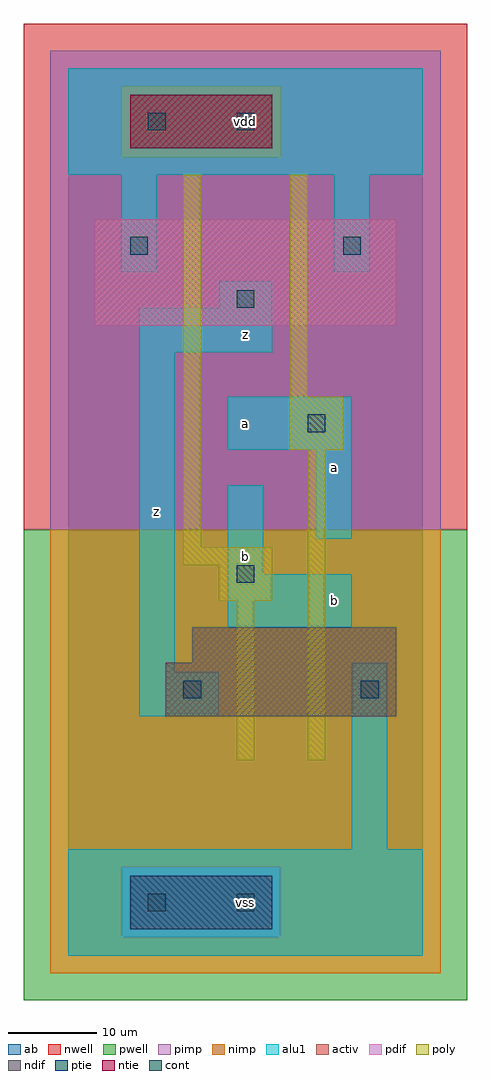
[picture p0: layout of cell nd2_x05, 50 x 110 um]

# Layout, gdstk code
import gdstk
lib = gdstk.Library(unit=1e-6, precision=1e-09)
def R(c, l, rs):  # rectangles x0, y0, x1, y1
    for r in rs: c.add(gdstk.rectangle(r[:2], r[2:], *l))
ndif = (3, 0)
pdif = (4, 0)
ntie = (5, 0)
ptie = (6, 0)
cont = (25, 0)
pwell = (41, 0)
nwell = (42, 0)
activ = (43, 0)
pimp = (44, 0)
nimp = (45, 0)
poly = (46, 0)
alu1 = (49, 0)
ab = (63, 0)

nd2_x05 = lib.new_cell('nd2_x05')
R(nd2_x05, ndif, [(11,27,37,33), (14,33,37,37)])
R(nd2_x05, pdif, [(3,71,37,83)])
R(nd2_x05, ntie, [(7,91,23,97)])
R(nd2_x05, ptie, [(7,3,23,9)])
R(nd2_x05, cont, [(9,5,11,7), (19,5,21,7), (13,29,15,31), (33,29,35,31), (19,42,21,44), (27,59,29,61), (19,73,21,75), (7,79,9,81), (31,79,33,81), (9,93,11,95), (19,93,21,95)])
R(nd2_x05, pwell, [(-5,-5,45,48)])
R(nd2_x05, nwell, [(-5,48,45,105)])
R(nd2_x05, activ, [(7,3,23,9), (11,27,37,33), (14,33,37,37), (3,71,37,83), (7,91,23,97)])
R(nd2_x05, pimp, [(6,2,24,10), (-2,48,42,90), (-2,90,6,98), (24,90,42,98), (-2,98,42,102)])
R(nd2_x05, nimp, [(-2,-2,42,2), (-2,2,6,10), (24,2,42,10), (-2,10,42,48), (6,90,24,98)])
R(nd2_x05, poly, [(19,22,21,40), (27,22,29,57), (17,40,23,44), (13,44,23,46), (13,46,15,88), (25,57,31,63), (25,63,27,88)])
R(nd2_x05, alu1, [(0,0,40,12), (32,12,36,33), (8,27,17,32), (8,32,12,68), (18,37,32,43), (18,43,22,53), (28,47,32,57), (18,57,32,63), (8,68,23,73), (17,73,23,76), (6,77,10,88), (30,77,34,88), (0,88,40,100)])
R(nd2_x05, ab, [(0,0,40,100)])
nd2_x05.add(gdstk.Label('z', (10,50), layer=49, texttype=0))
nd2_x05.add(gdstk.Label('vss', (20,6), layer=49, texttype=0))
nd2_x05.add(gdstk.Label('b', (20,45), layer=49, texttype=0))
nd2_x05.add(gdstk.Label('a', (20,60), layer=49, texttype=0))
nd2_x05.add(gdstk.Label('z', (20,70), layer=49, texttype=0))
nd2_x05.add(gdstk.Label('vdd', (20,94), layer=49, texttype=0))
nd2_x05.add(gdstk.Label('b', (30,40), layer=49, texttype=0))
nd2_x05.add(gdstk.Label('a', (30,55), layer=49, texttype=0))

lib.write_gds('nd2_x05.gds')
